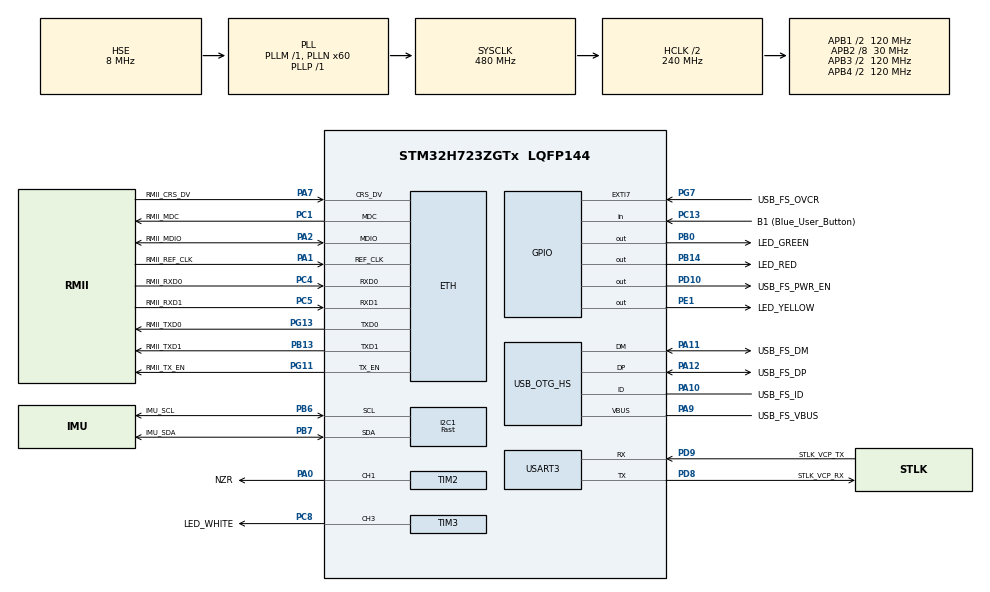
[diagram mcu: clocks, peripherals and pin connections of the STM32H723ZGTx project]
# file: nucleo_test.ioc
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Dma.I2C1_RX.1.Direction=DMA_PERIPH_TO_MEMORY
Dma.I2C1_RX.1.EventEnable=DISABLE
Dma.I2C1_RX.1.FIFOMode=DMA_FIFOMODE_DISABLE
Dma.I2C1_RX.1.Instance=DMA1_Stream1
Dma.I2C1_RX.1.MemDataAlignment=DMA_MDATAALIGN_BYTE
Dma.I2C1_RX.1.MemInc=DMA_MINC_ENABLE
Dma.I2C1_RX.1.Mode=DMA_NORMAL
Dma.I2C1_RX.1.PeriphDataAlignment=DMA_PDATAALIGN_BYTE
Dma.I2C1_RX.1.PeriphInc=DMA_PINC_DISABLE
Dma.I2C1_RX.1.Polarity=HAL_DMAMUX_REQ_GEN_RISING
Dma.I2C1_RX.1.Priority=DMA_PRIORITY_LOW
Dma.I2C1_RX.1.RequestNumber=1
Dma.I2C1_RX.1.SignalID=NONE
Dma.I2C1_RX.1.SyncEnable=DISABLE
Dma.I2C1_RX.1.SyncPolarity=HAL_DMAMUX_SYNC_NO_EVENT
Dma.I2C1_RX.1.SyncRequestNumber=1
Dma.I2C1_RX.1.SyncSignalID=NONE
Dma.I2C1_TX.2.Direction=DMA_MEMORY_TO_PERIPH
Dma.I2C1_TX.2.EventEnable=DISABLE
Dma.I2C1_TX.2.FIFOMode=DMA_FIFOMODE_DISABLE
Dma.I2C1_TX.2.Instance=DMA1_Stream2
Dma.I2C1_TX.2.MemDataAlignment=DMA_MDATAALIGN_BYTE
Dma.I2C1_TX.2.MemInc=DMA_MINC_ENABLE
Dma.I2C1_TX.2.Mode=DMA_NORMAL
Dma.I2C1_TX.2.PeriphDataAlignment=DMA_PDATAALIGN_BYTE
Dma.I2C1_TX.2.PeriphInc=DMA_PINC_DISABLE
Dma.I2C1_TX.2.Polarity=HAL_DMAMUX_REQ_GEN_RISING
Dma.I2C1_TX.2.Priority=DMA_PRIORITY_LOW
Dma.I2C1_TX.2.RequestNumber=1
Dma.I2C1_TX.2.SignalID=NONE
Dma.I2C1_TX.2.SyncEnable=DISABLE
Dma.I2C1_TX.2.SyncPolarity=HAL_DMAMUX_SYNC_NO_EVENT
Dma.I2C1_TX.2.SyncRequestNumber=1
Dma.I2C1_TX.2.SyncSignalID=NONE
Dma.Request0=USART3_RX
Dma.Request1=I2C1_RX
Dma.Request2=I2C1_TX
Dma.Request3=TIM2_CH1
Dma.Request4=TIM3_CH3
Dma.TIM2_CH1.3.Direction=DMA_MEMORY_TO_PERIPH
Dma.TIM2_CH1.3.EventEnable=DISABLE
Dma.TIM2_CH1.3.FIFOMode=DMA_FIFOMODE_DISABLE
Dma.TIM2_CH1.3.Instance=DMA1_Stream3
Dma.TIM2_CH1.3.MemDataAlignment=DMA_MDATAALIGN_WORD
Dma.TIM2_CH1.3.MemInc=DMA_MINC_ENABLE
Dma.TIM2_CH1.3.Mode=DMA_NORMAL
Dma.TIM2_CH1.3.PeriphDataAlignment=DMA_PDATAALIGN_WORD
Dma.TIM2_CH1.3.PeriphInc=DMA_PINC_DISABLE
Dma.TIM2_CH1.3.Polarity=HAL_DMAMUX_REQ_GEN_RISING
Dma.TIM2_CH1.3.Priority=DMA_PRIORITY_LOW
Dma.TIM2_CH1.3.RequestNumber=1
Dma.TIM2_CH1.3.SignalID=NONE
Dma.TIM2_CH1.3.SyncEnable=DISABLE
Dma.TIM2_CH1.3.SyncPolarity=HAL_DMAMUX_SYNC_NO_EVENT
Dma.TIM2_CH1.3.SyncRequestNumber=1
Dma.TIM2_CH1.3.SyncSignalID=NONE
Dma.TIM3_CH3.4.Direction=DMA_PERIPH_TO_MEMORY
Dma.TIM3_CH3.4.EventEnable=DISABLE
Dma.TIM3_CH3.4.FIFOMode=DMA_FIFOMODE_DISABLE
Dma.TIM3_CH3.4.Instance=DMA1_Stream4
Dma.TIM3_CH3.4.MemDataAlignment=DMA_MDATAALIGN_HALFWORD
Dma.TIM3_CH3.4.MemInc=DMA_MINC_ENABLE
Dma.TIM3_CH3.4.Mode=DMA_NORMAL
Dma.TIM3_CH3.4.PeriphDataAlignment=DMA_PDATAALIGN_HALFWORD
Dma.TIM3_CH3.4.PeriphInc=DMA_PINC_DISABLE
Dma.TIM3_CH3.4.Polarity=HAL_DMAMUX_REQ_GEN_RISING
Dma.TIM3_CH3.4.Priority=DMA_PRIORITY_LOW
Dma.TIM3_CH3.4.RequestNumber=1
Dma.TIM3_CH3.4.SignalID=NONE
Dma.TIM3_CH3.4.SyncEnable=DISABLE
Dma.TIM3_CH3.4.SyncPolarity=HAL_DMAMUX_SYNC_NO_EVENT
Dma.TIM3_CH3.4.SyncRequestNumber=1
Dma.TIM3_CH3.4.SyncSignalID=NONE
Dma.USART3_RX.0.Direction=DMA_PERIPH_TO_MEMORY
Dma.USART3_RX.0.EventEnable=DISABLE
Dma.USART3_RX.0.FIFOMode=DMA_FIFOMODE_DISABLE
Dma.USART3_RX.0.Instance=DMA1_Stream0
Dma.USART3_RX.0.MemDataAlignment=DMA_MDATAALIGN_BYTE
Dma.USART3_RX.0.MemInc=DMA_MINC_ENABLE
Dma.USART3_RX.0.Mode=DMA_CIRCULAR
Dma.USART3_RX.0.PeriphDataAlignment=DMA_PDATAALIGN_BYTE
Dma.USART3_RX.0.PeriphInc=DMA_PINC_DISABLE
Dma.USART3_RX.0.Polarity=HAL_DMAMUX_REQ_GEN_RISING
Dma.USART3_RX.0.Priority=DMA_PRIORITY_LOW
Dma.USART3_RX.0.RequestNumber=1
Dma.USART3_RX.0.SignalID=NONE
Dma.USART3_RX.0.SyncEnable=DISABLE
Dma.USART3_RX.0.SyncPolarity=HAL_DMAMUX_SYNC_NO_EVENT
Dma.USART3_RX.0.SyncRequestNumber=1
Dma.USART3_RX.0.SyncSignalID=NONE
ETH.MediaInterface=HAL_ETH_RMII_MODE
FREERTOS.BinarySemaphores01=I2C1BinSem,Dynamic,NULL
FREERTOS.Mutexes01=I2C1Mutex,Dynamic,NULL
FREERTOS.Tasks01=defaultTask,24,128,StartDefaultTask,Default,NULL,Dynamic,NULL,NULL;UART_Task,8,128,StartUART_Task,Default,NULL,Dynamic,NULL,NULL;LED_Task,9,128,StartLED_Task,Default,NULL,Dynamic,NULL,NULL;IMU_Task,10,128,StartIMU_Task,Default,NULL,Dynamic,NULL,NULL
FREERTOS.configUSE_NEWLIB_REENTRANT=1
I2C1.I2C_Speed_Mode=I2C_Fast
I2C1.Timing=0x00B03FDB
Mcu.Family=STM32H7
Mcu.Name=STM32H723ZGTx
Mcu.Package=LQFP144
NVIC.DMA1_Stream0_IRQn=true\:5\:0\:false\:false\:true\:true\:false\:true
NVIC.DMA1_Stream1_IRQn=true\:5\:0\:false\:false\:true\:true\:false\:true
NVIC.DMA1_Stream2_IRQn=true\:5\:0\:false\:false\:true\:true\:false\:true
NVIC.DMA1_Stream3_IRQn=true\:5\:0\:false\:false\:true\:true\:false\:true
NVIC.DMA1_Stream4_IRQn=true\:5\:0\:false\:false\:true\:true\:false\:true
NVIC.I2C1_ER_IRQn=true\:5\:0\:false\:false\:true\:true\:true\:true
NVIC.I2C1_EV_IRQn=true\:5\:0\:false\:false\:true\:true\:true\:true
NVIC.PriorityGroup=NVIC_PRIORITYGROUP_4
NVIC.TIM15_IRQn=true\:5\:0\:false\:false\:true\:true\:true\:true
NVIC.TIM2_IRQn=true\:5\:0\:false\:false\:true\:true\:true\:true
NVIC.TIM7_IRQn=true\:15\:0\:false\:false\:true\:false\:false\:true
NVIC.TimeBase=TIM7_IRQn
NVIC.TimeBaseIP=TIM7
NVIC.USART3_IRQn=true\:5\:0\:false\:false\:true\:true\:true\:true
PA0.GPIO_Label=NZR
PA0.GPIO_Speed=GPIO_SPEED_FREQ_MEDIUM
PA0.Signal=S_TIM2_CH1
PA1.GPIO_Label=RMII_REF_CLK
PA1.Mode=RMII
PA1.Signal=ETH_REF_CLK
PA10.GPIO_Label=USB_FS_ID
PA10.Mode=OTG/Dual-Role-Device-FS
PA10.Signal=USB_OTG_HS_ID
PA11.GPIO_Label=USB_FS_DM
PA11.Mode=OTG/Dual-Role-Device-FS
PA11.Signal=USB_OTG_HS_DM
PA12.GPIO_Label=USB_FS_DP
PA12.Mode=OTG/Dual-Role-Device-FS
PA12.Signal=USB_OTG_HS_DP
PA13(JTMS/SWDIO).GPIO_Label=SWDIO
PA13(JTMS/SWDIO).Mode=Trace_Asynchronous_SW
PA13(JTMS/SWDIO).Signal=DEBUG_JTMS-SWDIO
PA14(JTCK/SWCLK).GPIO_Label=SWCLK
PA14(JTCK/SWCLK).Mode=Trace_Asynchronous_SW
PA14(JTCK/SWCLK).Signal=DEBUG_JTCK-SWCLK
PA2.GPIO_Label=RMII_MDIO
PA2.Mode=RMII
PA2.Signal=ETH_MDIO
PA7.GPIO_Label=RMII_CRS_DV
PA7.Mode=RMII
PA7.Signal=ETH_CRS_DV
PA9.GPIO_Label=USB_FS_VBUS
PA9.Mode=Activate_VBUS_FS
PA9.Signal=USB_OTG_HS_VBUS
PB0.GPIO_Label=LED_GREEN
PB0.Signal=GPIO_Output
PB13.GPIO_Label=RMII_TXD1
PB13.Mode=RMII
PB13.Signal=ETH_TXD1
PB14.GPIO_Label=LED_RED
PB14.Signal=GPIO_Output
PB3(JTDO/TRACESWO).GPIO_Label=SWO
PB3(JTDO/TRACESWO).Mode=Trace_Asynchronous_SW
PB3(JTDO/TRACESWO).Signal=DEBUG_JTDO-SWO
PB6.GPIO_Label=IMU_SCL
PB6.Mode=I2C
PB6.Signal=I2C1_SCL
PB7.GPIO_Label=IMU_SDA
PB7.Mode=I2C
PB7.Signal=I2C1_SDA
PC1.GPIO_Label=RMII_MDC
PC1.Mode=RMII
PC1.Signal=ETH_MDC
PC13.GPIO_Label=B1 (Blue_User_Button)
PC13.Signal=GPIO_Input
PC14-OSC32_IN.Mode=LSE-External-Oscillator
PC14-OSC32_IN.Signal=RCC_OSC32_IN
PC15-OSC32_OUT.Mode=LSE-External-Oscillator
PC15-OSC32_OUT.Signal=RCC_OSC32_OUT
PC4.GPIO_Label=RMII_RXD0
PC4.Mode=RMII
PC4.Signal=ETH_RXD0
PC5.GPIO_Label=RMII_RXD1
PC5.Mode=RMII
PC5.Signal=ETH_RXD1
PC8.GPIO_Label=LED_WHITE
PC8.Signal=S_TIM3_CH3
PD10.GPIO_Label=USB_FS_PWR_EN
PD10.Signal=GPIO_Output
PD8.GPIO_Label=STLK_VCP_RX
PD8.Mode=Asynchronous
PD8.Signal=USART3_TX
PD9.GPIO_Label=STLK_VCP_TX
PD9.Mode=Asynchronous
PD9.Signal=USART3_RX
PE1.GPIO_Label=LED_YELLOW
PE1.Signal=GPIO_Output
PG11.GPIO_Label=RMII_TX_EN
PG11.Mode=RMII
PG11.Signal=ETH_TX_EN
PG13.GPIO_Label=RMII_TXD0
PG13.Mode=RMII
PG13.Signal=ETH_TXD0
PG7.GPIO_Label=USB_FS_OVCR
PG7.Signal=GPXTI7
PH0-OSC_IN.GPIO_Label=MCO
PH0-OSC_IN.Mode=HSE-External-Clock-Source
PH0-OSC_IN.Signal=RCC_OSC_IN
PH1-OSC_OUT.Signal=RCC_OSC_OUT
ProjectManager.HeapSize=0x200
ProjectManager.StackSize=0x400
ProjectManager.TargetToolchain=STM32CubeIDE
RCC.ADCFreq_Value=76000000
RCC.APB1Freq_Value=120000000
RCC.APB2Freq_Value=30000000
RCC.APB3Freq_Value=120000000
RCC.APB4Freq_Value=120000000
RCC.CortexFreq_Value=480000000
RCC.D1PPRE=RCC_APB3_DIV2
RCC.D2PPRE1=RCC_APB1_DIV2
RCC.D2PPRE2=RCC_APB2_DIV8
RCC.D3PPRE=RCC_APB4_DIV2
RCC.DIVM1=1
RCC.DIVM2=1
RCC.DIVN1=60
RCC.DIVN2=19
RCC.DIVP1=1
RCC.DIVQ1=4
RCC.HCLKFreq_Value=240000000
RCC.HPRE=RCC_HCLK_DIV2
RCC.HSE_VALUE=8000000
RCC.PLLFRACN=0
RCC.PLLSourceVirtual=RCC_PLLSOURCE_HSE
RCC.SYSCLKFreq_VALUE=480000000
RCC.SYSCLKSource=RCC_SYSCLKSOURCE_PLLCLK
RCC.USBCLockSelection=RCC_USBCLKSOURCE_HSI48
RCC.USBFreq_Value=48000000
SH.S_TIM2_CH1.0=TIM2_CH1,PWM Generation1 CH1
SH.S_TIM3_CH3.0=TIM3_CH3,PWM Generation3 CH3
TIM15.Prescaler=64-1
TIM2.Channel-PWM\ Generation1\ CH1=TIM_CHANNEL_1
TIM3.Channel-PWM\ Generation3\ CH3=TIM_CHANNEL_3
USART3.VirtualMode-Asynchronous=VM_ASYNC
VP_FREERTOS_VS_CMSIS_V2.Mode=CMSIS_V2
VP_SYS_VS_tim7.Mode=TIM7
VP_TIM15_VS_ClockSourceINT.Mode=Internal
board=NUCLEO-H723ZG

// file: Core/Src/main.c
/* USER CODE BEGIN Header */
/**
  ******************************************************************************
  * @file           : main.c
  * @brief          : Main program body
  ******************************************************************************
  * @attention
  *
  * <h2><center>&copy; Copyright (c) 2021 STMicroelectronics.
  * All rights reserved.</center></h2>
  *
  * This software component is licensed by ST under BSD 3-Clause license,
  * the "License"; You may not use this file except in compliance with the
  * License. You may obtain a copy of the License at:
  *                        opensource.org/licenses/BSD-3-Clause
  *
  ******************************************************************************
  */
/* USER CODE END Header */
#include "main.h"
#include "cmsis_os.h"
#include "dma.h"
#include "eth.h"
#include "i2c.h"
#include "tim.h"
#include "usart.h"
#include "usb_otg.h"
#include "gpio.h"

void SystemClock_Config(void);
void MX_FREERTOS_Init(void);

int main(void)
{

  /* MCU Configuration--------------------------------------------------------*/

  /* Reset of all peripherals, Initializes the Flash interface and the Systick. */
  HAL_Init();

  /* Configure the system clock */
  SystemClock_Config();

  /* Initialize all configured peripherals */
  MX_GPIO_Init();
  MX_ETH_Init();
  MX_USART3_UART_Init();
  MX_DMA_Init();
  MX_USB_OTG_HS_USB_Init();
  MX_I2C1_Init();
  MX_TIM2_Init();
  MX_TIM3_Init();
  MX_TIM15_Init();

  /* Init scheduler */
  osKernelInitialize();  /* Call init function for freertos objects (in freertos.c) */
  MX_FREERTOS_Init();
  /* Start scheduler */
  osKernelStart();

  /* We should never get here as control is now taken by the scheduler */
  /* Infinite loop */
  while (1)
  {

  }
}

void SystemClock_Config(void)
{
  RCC_OscInitTypeDef RCC_OscInitStruct = {0};
  RCC_ClkInitTypeDef RCC_ClkInitStruct = {0};

  /** Supply configuration update enable
  */
  HAL_PWREx_ConfigSupply(PWR_LDO_SUPPLY);
  /** Configure the main internal regulator output voltage
  */
  __HAL_PWR_VOLTAGESCALING_CONFIG(PWR_REGULATOR_VOLTAGE_SCALE0);

  while(!__HAL_PWR_GET_FLAG(PWR_FLAG_VOSRDY)) {}
  /** Initializes the RCC Oscillators according to the specified parameters
  * in the RCC_OscInitTypeDef structure.
  */
  RCC_OscInitStruct.OscillatorType = RCC_OSCILLATORTYPE_HSI48|RCC_OSCILLATORTYPE_HSE;
  RCC_OscInitStruct.HSEState = RCC_HSE_BYPASS;
  RCC_OscInitStruct.HSI48State = RCC_HSI48_ON;
  RCC_OscInitStruct.PLL.PLLState = RCC_PLL_ON;
  RCC_OscInitStruct.PLL.PLLSource = RCC_PLLSOURCE_HSE;
  RCC_OscInitStruct.PLL.PLLM = 1;
  RCC_OscInitStruct.PLL.PLLN = 60;
  RCC_OscInitStruct.PLL.PLLP = 1;
  RCC_OscInitStruct.PLL.PLLQ = 4;
  RCC_OscInitStruct.PLL.PLLR = 2;
  RCC_OscInitStruct.PLL.PLLRGE = RCC_PLL1VCIRANGE_3;
  RCC_OscInitStruct.PLL.PLLVCOSEL = RCC_PLL1VCOWIDE;
  RCC_OscInitStruct.PLL.PLLFRACN = 0;
  if (HAL_RCC_OscConfig(&RCC_OscInitStruct) != HAL_OK)
  {
    Error_Handler();
  }
  /** Initializes the CPU, AHB and APB buses clocks
  */
  RCC_ClkInitStruct.ClockType = RCC_CLOCKTYPE_HCLK|RCC_CLOCKTYPE_SYSCLK
                              |RCC_CLOCKTYPE_PCLK1|RCC_CLOCKTYPE_PCLK2
                              |RCC_CLOCKTYPE_D3PCLK1|RCC_CLOCKTYPE_D1PCLK1;
  RCC_ClkInitStruct.SYSCLKSource = RCC_SYSCLKSOURCE_PLLCLK;
  RCC_ClkInitStruct.SYSCLKDivider = RCC_SYSCLK_DIV1;
  RCC_ClkInitStruct.AHBCLKDivider = RCC_HCLK_DIV2;
  RCC_ClkInitStruct.APB3CLKDivider = RCC_APB3_DIV2;
  RCC_ClkInitStruct.APB1CLKDivider = RCC_APB1_DIV2;
  RCC_ClkInitStruct.APB2CLKDivider = RCC_APB2_DIV8;
  RCC_ClkInitStruct.APB4CLKDivider = RCC_APB4_DIV2;

  if (HAL_RCC_ClockConfig(&RCC_ClkInitStruct, FLASH_LATENCY_3) != HAL_OK)
  {
    Error_Handler();
  }
}

void HAL_TIM_PeriodElapsedCallback(TIM_HandleTypeDef *htim)
{
  if (htim->Instance == TIM7) {
    HAL_IncTick();
  }
}

void Error_Handler(void)
{
  __disable_irq();
  while (1)
  {
  }
}

/************************ (C) COPYRIGHT STMicroelectronics *****END OF FILE****/

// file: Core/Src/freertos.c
/* USER CODE BEGIN Header */
/**
  ******************************************************************************
  * File Name          : freertos.c
  * Description        : Code for freertos applications
  ******************************************************************************
  * @attention
  *
  * <h2><center>&copy; Copyright (c) 2021 STMicroelectronics.
  * All rights reserved.</center></h2>
  *
  * This software component is licensed by ST under Ultimate Liberty license
  * SLA0044, the "License"; You may not use this file except in compliance with
  * the License. You may obtain a copy of the License at:
  *                             www.st.com/SLA0044
  *
  ******************************************************************************
  */
/* USER CODE END Header */

#include "FreeRTOS.h"
#include "task.h"
#include "main.h"
#include "cmsis_os.h"

/* USER CODE BEGIN Includes */
//#include "imu.h"
#include "mpu_driver.h"
#include "bno055_driver.h"
/* USER CODE END Includes */

/* USER CODE BEGIN PD */

float calculation_time;
float calculation_time2;
float count = 0;
float inc;
int dir_flag = 1;
int first_flag = 1;
int button_flag = 0;
float motor_angle = 0;
extern float t_roll;

/* USER CODE END PD */

/* Definitions for defaultTask */
osThreadId_t defaultTaskHandle;
const osThreadAttr_t defaultTask_attributes = {
  .name = "defaultTask",
  .stack_size = 128 * 4,
  .priority = (osPriority_t) osPriorityNormal,
};
/* Definitions for UART_Task */
osThreadId_t UART_TaskHandle;
const osThreadAttr_t UART_Task_attributes = {
  .name = "UART_Task",
  .stack_size = 128 * 4,
  .priority = (osPriority_t) osPriorityLow,
};
/* Definitions for LED_Task */
osThreadId_t LED_TaskHandle;
const osThreadAttr_t LED_Task_attributes = {
  .name = "LED_Task",
  .stack_size = 128 * 4,
  .priority = (osPriority_t) osPriorityLow1,
};
/* Definitions for IMU_Task */
osThreadId_t IMU_TaskHandle;
const osThreadAttr_t IMU_Task_attributes = {
  .name = "IMU_Task",
  .stack_size = 128 * 4,
  .priority = (osPriority_t) osPriorityLow2,
};
/* Definitions for I2C1Mutex */
osMutexId_t I2C1MutexHandle;
const osMutexAttr_t I2C1Mutex_attributes = {
  .name = "I2C1Mutex"
};
/* Definitions for I2C1BinSem */
osSemaphoreId_t I2C1BinSemHandle;
const osSemaphoreAttr_t I2C1BinSem_attributes = {
  .name = "I2C1BinSem"
};

void StartDefaultTask(void *argument);
void StartUART_Task(void *argument);
void StartLED_Task(void *argument);
void StartIMU_Task(void *argument);

void MX_FREERTOS_Init(void); /* (MISRA C 2004 rule 8.1) */

void MX_FREERTOS_Init(void) {
  /* Create the mutex(es) */
  /* creation of I2C1Mutex */
  I2C1MutexHandle = osMutexNew(&I2C1Mutex_attributes);

  /* Create the semaphores(s) */
  /* creation of I2C1BinSem */
  I2C1BinSemHandle = osSemaphoreNew(1, 1, &I2C1BinSem_attributes);

  /* USER CODE BEGIN RTOS_SEMAPHORES */
  /* add semaphores, ... */
//  HW_I2C_InitChannel(&i2c_ch1, &hi2c1, I2C1BinSemHandle);
  /* USER CODE END RTOS_SEMAPHORES */

  /* Create the thread(s) */
  /* creation of defaultTask */
  defaultTaskHandle = osThreadNew(StartDefaultTask, NULL, &defaultTask_attributes);

  /* creation of UART_Task */
  UART_TaskHandle = osThreadNew(StartUART_Task, NULL, &UART_Task_attributes);

  /* creation of LED_Task */
  LED_TaskHandle = osThreadNew(StartLED_Task, NULL, &LED_Task_attributes);

  /* creation of IMU_Task */
  IMU_TaskHandle = osThreadNew(StartIMU_Task, NULL, &IMU_Task_attributes);

}

void StartDefaultTask(void *argument)
{
  for(;;)
  {
	osDelay(1);
  }
}

void StartUART_Task(void *argument)
{
  /* USER CODE BEGIN StartUART_Task */
    /* Infinite loop */
  for(;;)
  {
//    osDelay(1);
	  Serial_Send();
  }
  /* USER CODE END StartUART_Task */
}

void StartLED_Task(void *argument)
{
  /* USER CODE BEGIN StartLED_Task */
  /* Infinite loop */
  for(;;)
  {
	  HAL_GPIO_TogglePin(LED_YELLOW_GPIO_Port, LED_YELLOW_Pin);
    osDelay(200);
  }
  /* USER CODE END StartLED_Task */
}

/* USER CODE BEGIN Header_StartIMU_Task */
/**
* @brief Function implementing the IMU_Task thread.
* @param argument: Not used
* @retval None
*
*/

/* USER CODE END Header_StartIMU_Task */
void StartIMU_Task(void *argument)
{
  /* USER CODE BEGIN StartIMU_Task */
//  IMU_SetI2C_Channel(&i2c_ch1);
//  IMU_WaitForReady();
//  IMU_Configure();
	BNO_Init();

  /* Infinite loop */
  for(;;)
  {
//    IMU_ReadData();
//    IMU_ReadBuffData();
//	uint32_t lastTime;
	BNO_Run();
//	osDelayUntil(&lastTime, 1000);
  }
  /* USER CODE END StartIMU_Task */
}

/************************ (C) COPYRIGHT STMicroelectronics *****END OF FILE****/
